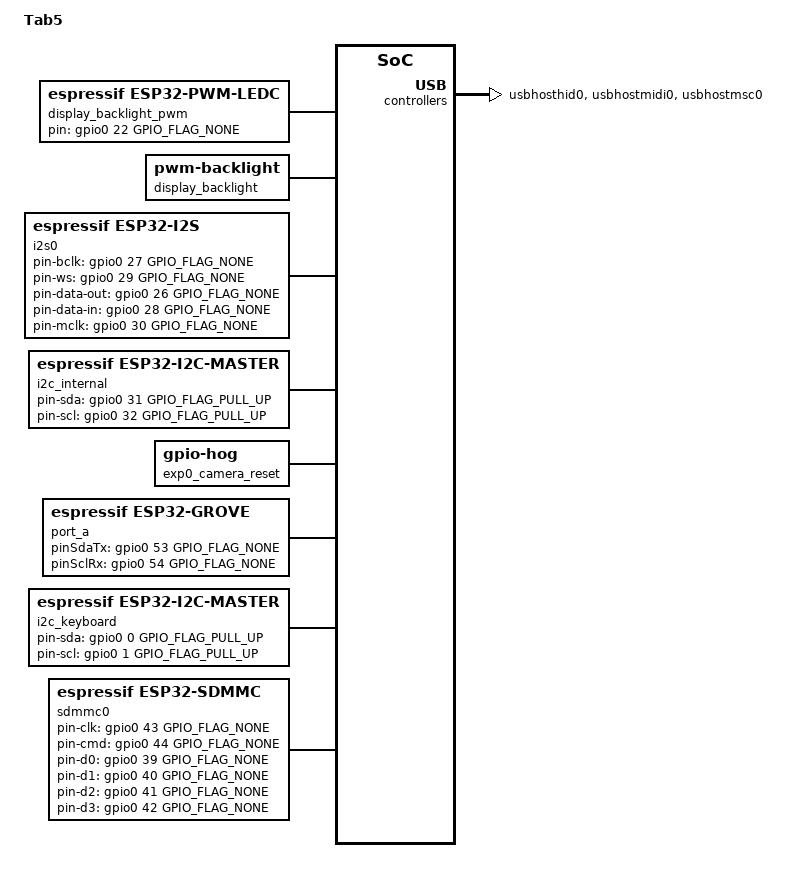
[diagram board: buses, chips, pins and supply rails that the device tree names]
/dts-v1/;

#include <tactility/bindings/root.h>
#include <tactility/bindings/esp32_ble.h>
#include <tactility/bindings/esp32_gpio.h>
#include <tactility/bindings/esp32_grove.h>
#include <tactility/bindings/esp32_i2c_master.h>
#include <tactility/bindings/esp32_i2s.h>
#include <tactility/bindings/esp32_pwm_ledc.h>
#include <tactility/bindings/esp32_sdmmc.h>
#include <tactility/bindings/esp32_uart.h>
#include <tactility/bindings/esp32_usbhost.h>
#include <tactility/bindings/esp32_wifi.h>
#include <tactility/bindings/gpio_hog.h>
#include <tactility/bindings/pwm_backlight.h>
#include <bindings/bmi270.h>
#include <bindings/es7210.h>
#include <bindings/es8388.h>
#include <bindings/ina226.h>
#include <bindings/pi4ioe5v6408.h>
#include <bindings/rx8130ce.h>
#include <bindings/sc2356.h>

/ {
	compatible = "root";
	model = "Tab5";

	wifi0 {
		compatible = "espressif,esp32-wifi";
		status = "disabled";
	};

	ble0 {
		compatible = "espressif,esp32-ble";
		status = "disabled";
	};

	gpio0 {
		compatible = "espressif,esp32-gpio";
		gpio-count = <57>;
	};

	display_backlight_pwm {
		compatible = "espressif,esp32-pwm-ledc";
		pin = <&gpio0 22 GPIO_FLAG_NONE>;
		period-ns = <200000>; // 5000 Hz
		ledc-timer = <1>;
		ledc-channel = <0>;
	};

	display_backlight {
		compatible = "pwm-backlight";
		pwm = <&display_backlight_pwm>;
	};

	// Declared before i2c0 so it starts before the es8388/es7210 codecs that reference it
	i2s0 {
		compatible = "espressif,esp32-i2s";
		port = <I2S_NUM_0>;
		pin-bclk = <&gpio0 27 GPIO_FLAG_NONE>;
		pin-ws = <&gpio0 29 GPIO_FLAG_NONE>;
		pin-data-out = <&gpio0 26 GPIO_FLAG_NONE>;
		pin-data-in = <&gpio0 28 GPIO_FLAG_NONE>;
		pin-mclk = <&gpio0 30 GPIO_FLAG_NONE>;
	};

	i2c_internal: i2c0 {
		compatible = "espressif,esp32-i2c-master";
		port = <I2C_NUM_0>;
		clock-frequency = <100000>;
		pin-sda = <&gpio0 31 GPIO_FLAG_PULL_UP>;
		pin-scl = <&gpio0 32 GPIO_FLAG_PULL_UP>;

		io_expander0: io_expander0 {
			compatible = "diodes,pi4ioe5v6408";
			reg = <0x43>;
		};

		io_expander1: io_expander1 {
			compatible = "diodes,pi4ioe5v6408";
			reg = <0x44>;
		};

		bmi270 {
			compatible = "bosch,bmi270";
			reg = <0x68>;
		};

		es8388 {
			compatible = "everest,es8388";
			reg = <0x10>;
			i2s = <&i2s0>;
		};

		es7210 {
			compatible = "everest,es7210";
			reg = <0x40>;
			i2s = <&i2s0>;
			// Per schematic: MIC1/MIC2 are the two onboard capsules (U17/U16).
			// MIC3 is not a microphone -- MIC3P is tapped from HPOUT_L (AEC_P) as an
			// acoustic-echo-cancellation reference, MIC3N goes to AGND. MIC4 is the
			// external headset-mic jack input (HPMIC), also not onboard. Select only
			// the two real capsules; MIC3/MIC4 would otherwise show up as silent (or
			// speaker-echoing) extra channels.
			mic-mask = <3>;
		};

		rx8130ce {
			compatible = "epson,rx8130ce";
			reg = <0x32>;
		};

		ina226 {
			compatible = "ti,ina226";
			reg = <0x41>;
			shunt-milliohms = <5>;
			// 2S NP-F550 pack
			power-supply;
			power-supply-reference-voltage-mv = <8400>;
			power-supply-min-voltage-mv = <6400>;
		};

		sc2356 {
			compatible = "smartsens,sc2356";
			reg = <0x36>;
		};
	};

	exp0_rf_internal_external {
		compatible = "gpio-hog";
		pin = <&io_expander0 0 GPIO_FLAG_NONE>;
		mode = <GPIO_HOG_MODE_OUTPUT_LOW>;
	};

	exp0_external_5v_bus_enable {
		compatible = "gpio-hog";
		pin = <&io_expander0 2 GPIO_FLAG_NONE>;
		mode = <GPIO_HOG_MODE_OUTPUT_HIGH>;
	};

	exp0_camera_reset {
		compatible = "gpio-hog";
		pin = <&io_expander0 6 GPIO_FLAG_NONE>;
		mode = <GPIO_HOG_MODE_OUTPUT_HIGH>;
	};

	exp1_c6_wlan_enable {
		compatible = "gpio-hog";
		pin = <&io_expander1 0 GPIO_FLAG_NONE>;
		mode = <GPIO_HOG_MODE_OUTPUT_HIGH>;
	};

	exp1_usb_a_5v_enable {
		compatible = "gpio-hog";
		pin = <&io_expander1 3 GPIO_FLAG_NONE>;
		mode = <GPIO_HOG_MODE_OUTPUT_HIGH>;
	};

	exp1_ip2326_chg_stat_led {
		compatible = "gpio-hog";
		pin = <&io_expander1 6 GPIO_FLAG_NONE>;
		mode = <GPIO_HOG_MODE_OUTPUT_LOW>;
	};

	port_a: grove0 {
		compatible = "espressif,esp32-grove";
		defaultMode = <GROVE_MODE_I2C>;
		pinSdaTx = <&gpio0 53 GPIO_FLAG_NONE>;
		pinSclRx = <&gpio0 54 GPIO_FLAG_NONE>;
		uartPort = <UART_NUM_1>;
		i2cPort = <I2C_NUM_1>;
		i2cClockFrequency = <100000>;
	};

	i2c_keyboard: i2c2 {
		compatible = "espressif,esp32-i2c-master";
		port = <LP_I2C_NUM_0>;
		clock-frequency = <100000>;
		clock-source = <LP_I2C_SCLK_DEFAULT>;
		pin-sda = <&gpio0 0 GPIO_FLAG_PULL_UP>;
		pin-scl = <&gpio0 1 GPIO_FLAG_PULL_UP>;
	};

	sdmmc0 {
		compatible = "espressif,esp32-sdmmc";
		pin-clk = <&gpio0 43 GPIO_FLAG_NONE>;
		pin-cmd = <&gpio0 44 GPIO_FLAG_NONE>;
		pin-d0 = <&gpio0 39 GPIO_FLAG_NONE>;
		pin-d1 = <&gpio0 40 GPIO_FLAG_NONE>;
		pin-d2 = <&gpio0 41 GPIO_FLAG_NONE>;
		pin-d3 = <&gpio0 42 GPIO_FLAG_NONE>;
		bus-width = <4>;
		slot = <SDMMC_HOST_SLOT_0>;
		max-freq-khz = <SDMMC_FREQ_HIGHSPEED>;
		on-chip-ldo-chan = <4>;
	};

	usbhost0 {
		compatible = "espressif,esp32-usbhost";
		peripheral-map = <0>;

		usbhosthid0 {
			compatible = "espressif,esp32-usbhost-hid";
		};

		usbhostmidi0 {
			compatible = "espressif,esp32-usbhost-midi";
		};

		usbhostmsc0 {
			compatible = "espressif,esp32-usbhost-msc";
		};
	};
};
